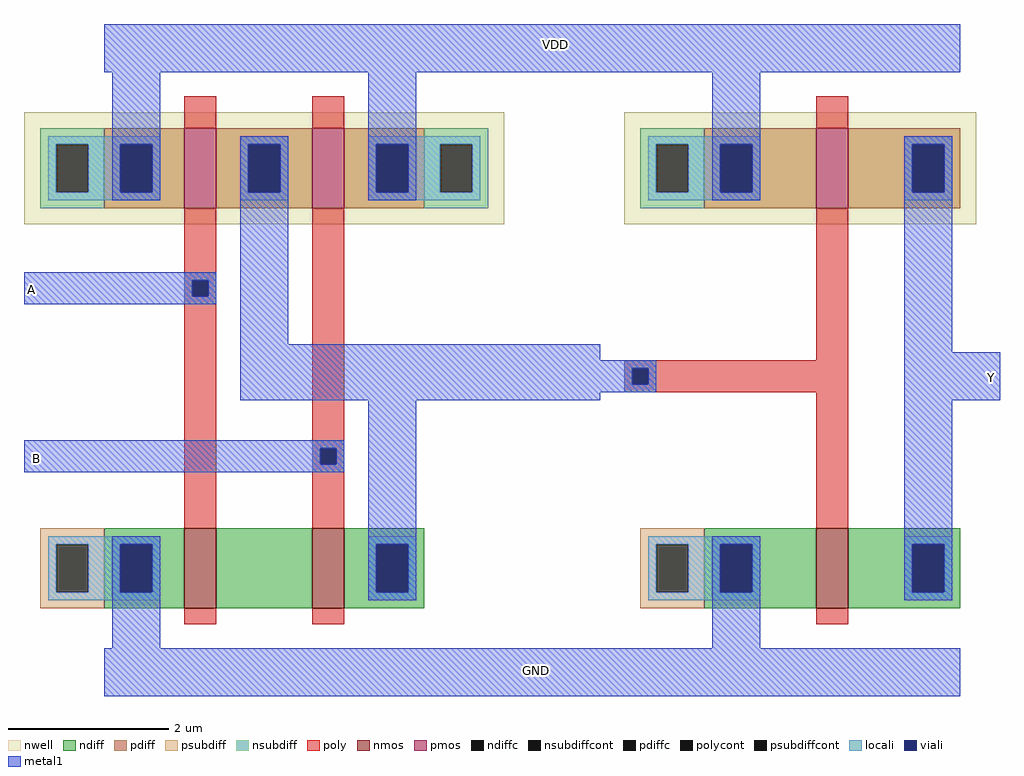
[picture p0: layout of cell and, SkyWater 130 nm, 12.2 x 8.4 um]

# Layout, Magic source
magic
tech sky130A
<< metal1 >>
rect 500 780 850 840
rect 600 370 720 440
rect 500 0 850 60
use inv  inv_0
transform 1 0 850 0 1 110
box -140 -110 370 730
use nand2  nand2_0
transform 1 0 100 0 1 110
box -100 -110 500 730
<< labels >>
rlabel metal1 662 814 666 814 1 VDD
rlabel metal1 639 32 643 32 1 GND
rlabel space 7 508 11 508 1 A
port 2 n
rlabel space 14 297 18 297 1 B
port 3 n
rlabel space 1207 398 1211 398 1 Y
port 1 n
<< end >>

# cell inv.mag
magic
tech sky130A
<< nwell >>
rect -100 480 340 620
<< nmos >>
rect 140 0 180 100
<< pmos >>
rect 140 500 180 600
<< ndiff >>
rect 0 80 140 100
rect 0 20 20 80
rect 60 20 140 80
rect 0 0 140 20
rect 180 80 320 100
rect 180 20 260 80
rect 300 20 320 80
rect 180 0 320 20
<< pdiff >>
rect 0 580 140 600
rect 0 520 20 580
rect 60 520 140 580
rect 0 500 140 520
rect 180 580 320 600
rect 180 520 260 580
rect 300 520 320 580
rect 180 500 320 520
<< ndiffc >>
rect 20 20 60 80
rect 260 20 300 80
<< pdiffc >>
rect 20 520 60 580
rect 260 520 300 580
<< psubdiff >>
rect -80 80 0 100
rect -80 20 -60 80
rect -20 20 0 80
rect -80 0 0 20
<< nsubdiff >>
rect -80 580 0 600
rect -80 520 -60 580
rect -20 520 0 580
rect -80 500 0 520
<< psubdiffcont >>
rect -60 20 -20 80
<< nsubdiffcont >>
rect -60 520 -20 580
<< poly >>
rect 140 600 180 640
rect 140 310 180 500
rect -100 300 180 310
rect -100 280 -90 300
rect -70 280 180 300
rect -100 270 180 280
rect 140 100 180 270
rect 140 -20 180 0
<< polycont >>
rect -90 280 -70 300
<< locali >>
rect -70 580 70 590
rect -70 520 -60 580
rect -20 520 20 580
rect 60 520 70 580
rect -70 510 70 520
rect 250 580 310 590
rect 250 520 260 580
rect 300 520 310 580
rect 250 510 310 520
rect -100 300 -60 310
rect -100 280 -90 300
rect -70 280 -60 300
rect -100 270 -60 280
rect -70 80 70 90
rect -70 20 -60 80
rect -20 20 20 80
rect 60 20 70 80
rect -70 10 70 20
rect 250 80 310 90
rect 250 20 260 80
rect 300 20 310 80
rect 250 10 310 20
<< viali >>
rect 20 520 60 580
rect 260 520 300 580
rect -90 280 -70 300
rect 20 20 60 80
rect 260 20 300 80
<< metal1 >>
rect 0 670 320 730
rect 10 580 70 670
rect 10 520 20 580
rect 60 520 70 580
rect 10 510 70 520
rect 250 580 310 590
rect 250 520 260 580
rect 300 520 310 580
rect 250 320 310 520
rect -140 300 -60 310
rect -140 280 -90 300
rect -70 280 -60 300
rect -140 270 -60 280
rect 250 260 370 320
rect 10 80 70 90
rect 10 20 20 80
rect 60 20 70 80
rect 10 -50 70 20
rect 250 80 310 260
rect 250 20 260 80
rect 300 20 310 80
rect 250 10 310 20
rect 0 -110 320 -50
<< labels >>
rlabel metal1 316 700 317 702 1 VDD
rlabel metal1 315 -79 316 -77 1 GND
rlabel metal1 366 291 367 291 1 Y
port 2 n
rlabel metal1 -120 290 -120 290 1 A
port 1 n
<< end >>

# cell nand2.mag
magic
tech sky130A
<< nwell >>
rect -100 480 500 620
<< nmos >>
rect 100 0 140 100
rect 260 0 300 100
<< pmos >>
rect 100 500 140 600
rect 260 500 300 600
<< ndiff >>
rect 0 80 100 100
rect 0 20 20 80
rect 60 20 100 80
rect 0 0 100 20
rect 140 0 260 100
rect 300 80 400 100
rect 300 20 340 80
rect 380 20 400 80
rect 300 0 400 20
<< pdiff >>
rect 0 580 100 600
rect 0 520 20 580
rect 60 520 100 580
rect 0 500 100 520
rect 140 580 260 600
rect 140 520 180 580
rect 220 520 260 580
rect 140 500 260 520
rect 300 580 400 600
rect 300 520 340 580
rect 380 520 400 580
rect 300 500 400 520
<< ndiffc >>
rect 20 20 60 80
rect 340 20 380 80
<< pdiffc >>
rect 20 520 60 580
rect 180 520 220 580
rect 340 520 380 580
<< psubdiff >>
rect -80 80 0 100
rect -80 20 -60 80
rect -20 20 0 80
rect -80 0 0 20
<< nsubdiff >>
rect -80 580 0 600
rect -80 520 -60 580
rect -20 520 0 580
rect -80 500 0 520
rect 400 580 480 600
rect 400 520 420 580
rect 460 520 480 580
rect 400 500 480 520
<< psubdiffcont >>
rect -60 20 -20 80
<< nsubdiffcont >>
rect -60 520 -20 580
rect 420 520 460 580
<< poly >>
rect 100 600 140 640
rect 260 600 300 640
rect 100 410 140 500
rect 100 390 110 410
rect 130 390 140 410
rect 100 100 140 390
rect 260 200 300 500
rect 260 180 270 200
rect 290 180 300 200
rect 260 100 300 180
rect 100 -20 140 0
rect 260 -20 300 0
<< polycont >>
rect 110 390 130 410
rect 270 180 290 200
<< locali >>
rect -70 580 70 590
rect -70 520 -60 580
rect -20 520 20 580
rect 60 520 70 580
rect -70 510 70 520
rect 170 580 230 590
rect 170 520 180 580
rect 220 520 230 580
rect 170 510 230 520
rect 330 580 470 590
rect 330 520 340 580
rect 380 520 420 580
rect 460 520 470 580
rect 330 510 470 520
rect 100 410 140 420
rect 100 390 110 410
rect 130 390 140 410
rect 100 380 140 390
rect 260 200 300 210
rect 260 180 270 200
rect 290 180 300 200
rect 260 170 300 180
rect -70 80 70 90
rect -70 20 -60 80
rect -20 20 20 80
rect 60 20 70 80
rect -70 10 70 20
rect 330 80 390 90
rect 330 20 340 80
rect 380 20 390 80
rect 330 10 390 20
<< viali >>
rect 20 520 60 580
rect 180 520 220 580
rect 340 520 380 580
rect 110 390 130 410
rect 270 180 290 200
rect 20 20 60 80
rect 340 20 380 80
<< metal1 >>
rect 0 670 400 730
rect 10 580 70 670
rect 10 520 20 580
rect 60 520 70 580
rect 10 510 70 520
rect 170 580 230 590
rect 170 520 180 580
rect 220 520 230 580
rect -100 410 140 420
rect -100 390 110 410
rect 130 390 140 410
rect -100 380 140 390
rect 170 330 230 520
rect 330 580 390 670
rect 330 520 340 580
rect 380 520 390 580
rect 330 510 390 520
rect 170 260 500 330
rect -100 200 300 210
rect -100 180 270 200
rect 290 180 300 200
rect -100 170 300 180
rect 10 80 70 90
rect 10 20 20 80
rect 60 20 70 80
rect 10 -50 70 20
rect 330 80 390 260
rect 330 20 340 80
rect 380 20 390 80
rect 330 10 390 20
rect 0 -110 400 -50
<< labels >>
rlabel metal1 1 700 1 703 1 VDD
rlabel metal1 3 -84 3 -81 1 GND
rlabel metal1 -90 399 -89 400 1 A
port 2 n
rlabel metal1 -91 190 -90 191 1 B
port 1 n
rlabel metal1 360 299 361 300 1 Y
port 3 n
<< end >>
